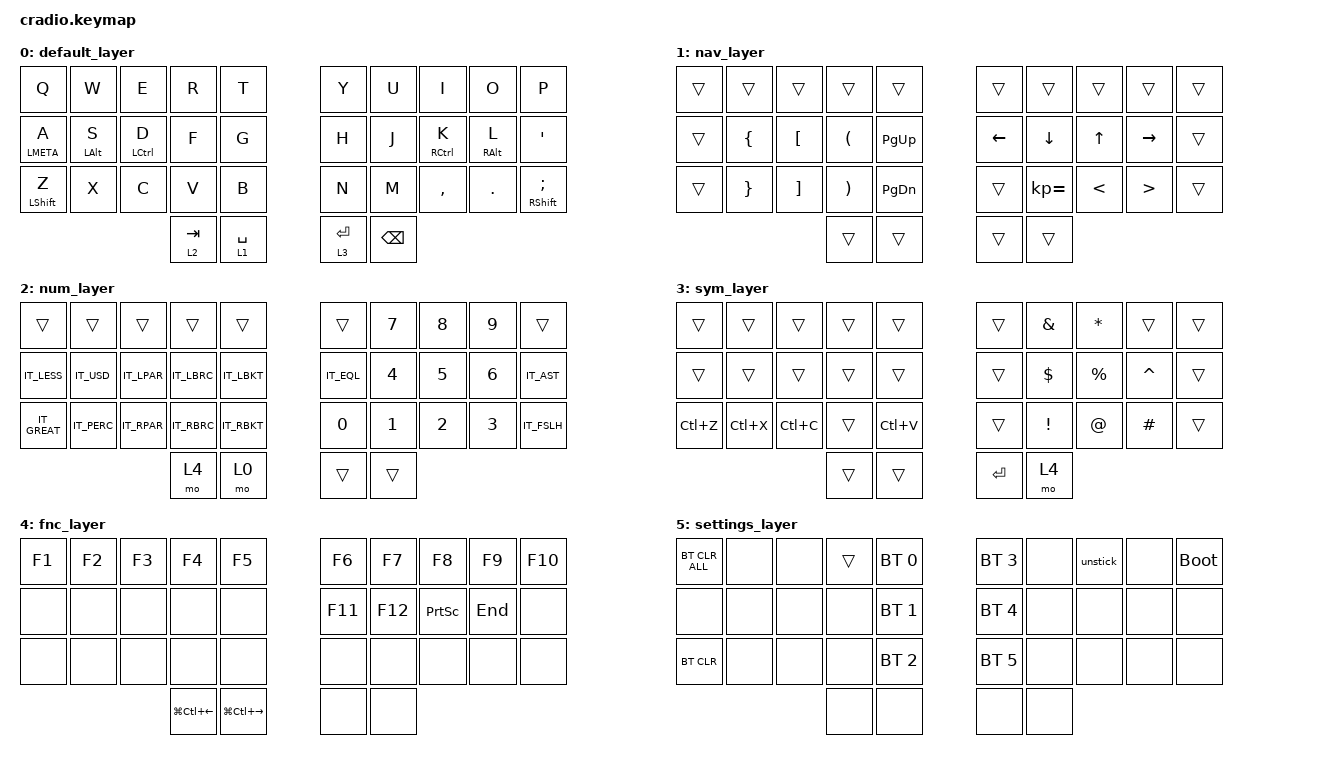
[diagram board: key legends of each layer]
/*
 * Copyright (c) 2020 The ZMK Contributors
 *
 * SPDX-License-Identifier: MIT
 */

#include <behaviors.dtsi>
#include <dt-bindings/zmk/bt.h>
#include <dt-bindings/zmk/keys.h>
#include "keymap_italian.h"

// Layer definitions

#define BASE 0
#define SYM 1
#define EXT 2
#define FNC 3
#define SYM2 4
#define ACCENT 5
#define SETTINGS 6

// -----------------

&mt {
    //  flavor = "tap-preferred";
    // tapping_term_ms = <200>;
};

/ {
    macros {
        // sometimes my device thinks a modifier is being held down
        // pressing all modifiers fixes it.

        unstick: unstick {
            label = "ZM_unstick";
            compatible = "zmk,behavior-macro";
            #binding-cells = <0>;
            bindings = <&kp LSHIFT &kp RSHIFT &kp LCTRL &kp RCTRL &kp LALT &kp RALT &kp LGUI &kp RGUI>;
        };
    };

    combos {
        compatible = "zmk,combos";

        // both right thumb keys
        // internal-left & external-right thumb keys
        // both left thumb keys

        combo_settings {
            timeout-ms = <300>;
            key-positions = <30 31>;
            bindings = <&mo 5>;
        };

        combo_fun {
            bindings = <&mo 4>;
            key-positions = <32 33>;
        };

        escape {
            bindings = <&kp ESCAPE>;
            key-positions = <0 1>;
        };

        CapsLock {
            bindings = <&kp CAPS>;
            key-positions = <13 16>;
        };
    };

    keymap {
        compatible = "zmk,keymap";

        // Base alpha layer

        default_layer {
            bindings = <
&kp Q         &kp W           &kp E        &kp R      &kp T          &kp Y        &kp U          &kp I        &kp O       &kp P
&mt LMETA A   &mt LEFT_ALT S  &mt LCTRL D  &kp F      &kp G          &kp H        &kp J          &mt RCTRL K  &mt RALT L  &kp APOSTROPHE
&mt LSHIFT Z  &kp X           &kp C        &kp V      &kp B          &kp N        &kp M          &kp COMMA    &kp DOT     &mt RSHFT SEMI
                                           &lt 2 TAB  &lt 1 SPACE    &lt 3 ENTER  &kp BACKSPACE
            >;
        };

        nav_layer {
            bindings = <
&trans  &trans           &trans             &trans                 &trans           &trans    &trans        &trans         &trans            &trans
&trans  &kp LEFT_BRACE   &kp LEFT_BRACKET   &kp LEFT_PARENTHESIS   &kp PAGE_UP      &kp LEFT  &kp DOWN      &kp UP         &kp RIGHT         &trans
&trans  &kp RIGHT_BRACE  &kp RIGHT_BRACKET  &kp RIGHT_PARENTHESIS  &kp PAGE_DOWN    &trans    &kp KP_EQUAL  &kp LESS_THAN  &kp GREATER_THAN  &trans
                                            &trans                 &trans           &trans    &trans
            >;
        };

        num_layer {
            bindings = <
&trans        &trans       &trans       &trans       &trans         &trans      &kp N7  &kp N8  &kp N9  &trans
&kp IT_LESS   &kp IT_USD   &kp IT_LPAR  &kp IT_LBRC  &kp IT_LBKT    &kp IT_EQL  &kp N4  &kp N5  &kp N6  &kp IT_AST
&kp IT_GREAT  &kp IT_PERC  &kp IT_RPAR  &kp IT_RBRC  &kp IT_RBKT    &kp N0      &kp N1  &kp N2  &kp N3  &kp IT_FSLH
                                        &mo 4        &mo 0          &trans      &trans
            >;
        };

        sym_layer {
            bindings = <
&trans     &trans     &trans     &trans  &trans       &trans     &kp AMPERSAND    &kp ASTERISK  &trans     &trans
&trans     &trans     &trans     &trans  &trans       &trans     &kp DOLLAR       &kp PERCENT   &kp CARET  &trans
&kp LC(Z)  &kp LC(X)  &kp LC(C)  &trans  &kp LC(V)    &trans     &kp EXCLAMATION  &kp AT_SIGN   &kp HASH   &trans
                                 &trans  &trans       &kp ENTER  &mo 4
            >;
        };

        fnc_layer {
            bindings = <
&kp F1  &kp F2  &kp F3  &kp F4            &kp F5               &kp F6   &kp F7   &kp F8           &kp F9   &kp F10
&none   &none   &none   &none             &none                &kp F11  &kp F12  &kp PRINTSCREEN  &kp END  &none
&none   &none   &none   &none             &none                &none    &none    &none            &none    &none
                        &kp LG(LC(LEFT))  &kp LG(LC(RIGHT))    &none    &none
            >;
        };

        settings_layer {
            bindings = <
&bt BT_CLR_ALL  &none  &none  &trans  &bt BT_SEL 0    &bt BT_SEL 3  &none  &unstick  &none  &bootloader
&none           &none  &none  &none   &bt BT_SEL 1    &bt BT_SEL 4  &none  &none     &none  &none
&bt BT_CLR      &none  &none  &none   &bt BT_SEL 2    &bt BT_SEL 5  &none  &none     &none  &none
                              &none   &none           &none         &none
            >;
        };
    };
};
